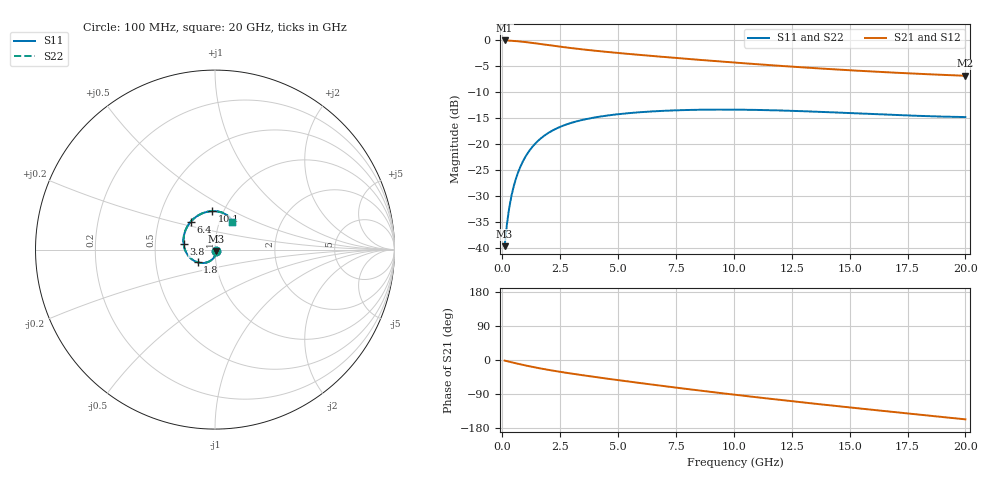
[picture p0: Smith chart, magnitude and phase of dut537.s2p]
! Touchstone file exported from HFSS 2024.1.0
!  File:  C:/UserFiles/LocalFiles/RDL_TSV_Batchsim/temp_RDL_TSV_537_1779746244.aedt
!  Generated:  06:12:59 AM May 26, 2026
!  Design:  RDL_TSV
!  Project:  temp_RDL_TSV_537_1779746244
!  Setup:  Setup1
!  Solution:  Sweep
! Variables:
!  dtsv = 13.33um
!  hbump = 3um
!  htsv = 81.48um
!  ldown = 308.16um
!  lrdl = 279.42um
!  p = 40
!  p1 = 40.27um
!  rhole = 10um
!  subl = 2042.16um
!  t = 450um
!  tdown = 4.65um
!  trdl = 4.12um
!  viad = 10um
!  wdown = 25.07um
!  wrdl = 26.71um
!  xbump = 18um
# GHz S MA R 50.000000
! Terminal data exported
! Port[1] = TM1_1_T1
! Port[2] = TM1_4_T1
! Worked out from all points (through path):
!   200 points, 100 MHz to 20 GHz, reference 50 ohm
!   highest |S21| = -0.07 dB at 100 MHz (marker M1); lowest = -6.9 dB at 20 GHz (marker M2)
!   group delay of S21, straight-line fit = 20.6 ps
!   lowest |S11| = -39.6 dB at 100 MHz (marker M3), VSWR 1.02, Z = 50.7 - j0.782 ohm
!   |S11| at or under -10 dB: start of sweep to end of sweep
!   |S22| runs from -39.6 to -13.3 dB; largest |S21 - S12| = 3.2e-14
!   S11 on the Smith chart (normalised r, x): 100 MHz: 1.01, -0.02; 1.8 GHz: 0.82, -0.12; 3.8 GHz: 0.70, +0.04; 6.4 GHz: 0.73, +0.24; 10.1 GHz: 0.88, +0.40; 20 GHz: 1.15, +0.37
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0.1  0.01048 -47.4  0.992 -1.6  0.992 -1.6  0.01048 -47.4
! Gamma 0 0 0 0
! Port Impedance 50 0 50 0
0.2  0.01704 -68.4  0.9902 -3.1  0.9902 -3.1  0.01704 -68.4
0.3  0.02453 -79.9  0.9877 -4.6  0.9877 -4.6  0.02453 -79.9
0.4  0.03223 -87.9  0.9848 -6.0  0.9848 -6.0  0.03223 -87.9
0.5  0.03992 -94.3  0.9814 -7.5  0.9814 -7.5  0.03992 -94.3
0.7  0.05489 -104.6  0.9731 -10.3  0.9731 -10.3  0.05489 -104.6
0.9  0.06903 -113.3  0.9631 -13.0  0.9631 -13.0  0.06903 -113.3
1.2  0.08839 -124.6  0.9458 -16.9  0.9458 -16.9  0.0884 -124.7
1.5  0.1054 -134.7  0.9268 -20.6  0.9268 -20.6  0.1054 -134.7
1.8  0.1201 -143.9  0.9074 -24.0  0.9074 -24.0  0.1201 -143.9
2.5  0.1468 -162.5  0.8643 -31.2  0.8643 -31.2  0.1468 -162.5
3.5  0.1718 175.9  0.8125 -40.4  0.8125 -40.4  0.1719 175.8
3.8  0.1774 170.2  0.799 -43.1  0.799 -43.1  0.1775 170.1
5.1  0.1951 148.7  0.7485 -53.9  0.7485 -53.9  0.1953 148.6
6.4  0.206 130.9  0.706 -64.3  0.706 -64.3  0.2063 130.9
6.8  0.2084 126.1  0.6939 -67.5  0.6939 -67.5  0.2087 126.0
8.4  0.214 109.0  0.6491 -79.7  0.6491 -79.7  0.2144 108.9
10.1  0.2147 94.3  0.6067 -92.1  0.6067 -92.1  0.2152 94.2
11.7  0.2117 83.2  0.5716 -103.3  0.5716 -103.3  0.2122 83.1
13.4  0.2058 74.0  0.5392 -114.7  0.5392 -114.7  0.2064 73.9
16.7  0.1919 62.6  0.4896 -136.0  0.4896 -136.0  0.1925 62.5
20  0.1821 58.0  0.454 -156.6  0.454 -156.6  0.1827 57.9
